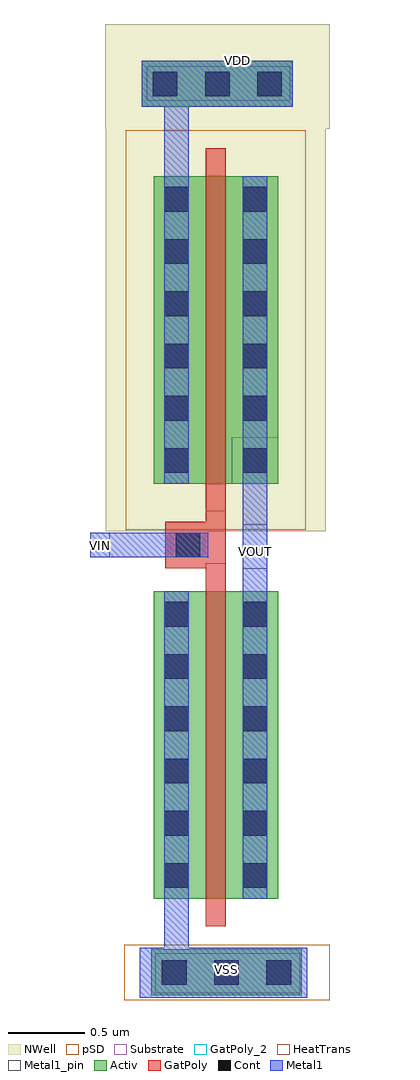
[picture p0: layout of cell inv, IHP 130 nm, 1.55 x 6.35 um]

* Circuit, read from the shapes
.subckt inv VDD VIN VOUT VSS
XM1 VOUT VIN VSS VSS sg13_lv_nmos w=2u l=0.13u
XM2 VOUT VIN VDD VDD sg13_lv_pmos w=2u l=0.13u
.ends

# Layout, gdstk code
import gdstk
lib = gdstk.Library(unit=1e-6, precision=5e-09)
def R(c, l, rs):  # rectangles x0, y0, x1, y1
    for r in rs: c.add(gdstk.rectangle(r[:2], r[2:], *l))
def A(c, l, x, y, w, h, nx, ny, dx, dy):  # array of equal rectangles
    R(c, l, [(x+i*dx, y+j*dy, x+i*dx+w, y+j*dy+h) for i in range(nx) for j in range(ny)])
def P(c, l, *ps):  # polygons
    for p in ps: c.add(gdstk.Polygon(p, *l))
Activ = (1, 0)
GatPoly = (5, 0)
GatPoly_2 = (5, 2)
Cont = (6, 0)
Metal1 = (8, 0)
Metal1_pin = (8, 2)
pSD = (14, 0)
NWell = (31, 0)
Substrate = (40, 0)
HeatTrans = (51, 0)

pmos = lib.new_cell('pmos')
R(pmos, Activ, [(0,0,0.3,0.3), (0,0,0.81,2), (0.51,0,0.81,0.3)])
R(pmos, GatPoly, [(0.34,-0.18,0.47,2.18), (0.34,-0.18,0.47,2.18)])
A(pmos, Cont, 0.07, 0.07, 0.16, 0.16, 1, 6, 0, 0.34)
A(pmos, Cont, 0.58, 0.07, 0.16, 0.16, 1, 6, 0, 0.34)
R(pmos, Metal1, [(0.07,0,0.23,2), (0.07,0,0.23,2), (0.58,0,0.74,2), (0.58,0,0.74,2)])
R(pmos, pSD, [(-0.18,-0.3,0.99,2.3)])
R(pmos, NWell, [(-0.31,-0.31,1.12,2.31)])
R(pmos, Substrate, [(0.51,0,0.81,0.3)])
R(pmos, HeatTrans, [(0.34,-0.18,0.47,2.18)])
pmos.add(gdstk.Label('pmos', (0.405,1), layer=63, texttype=0))
pmos.add(gdstk.Label('pmos', (0.405,1), layer=51, texttype=0))

nmos = lib.new_cell('nmos')
R(nmos, Activ, [(0,0,0.3,0.3), (0,0,0.81,2), (0.51,0,0.81,0.3)])
R(nmos, GatPoly, [(0.34,-0.18,0.47,2.18)])
R(nmos, GatPoly_2, [(0.34,-0.18,0.47,2.18)])
A(nmos, Cont, 0.07, 0.07, 0.16, 0.16, 1, 6, 0, 0.34)
A(nmos, Cont, 0.58, 0.07, 0.16, 0.16, 1, 6, 0, 0.34)
R(nmos, Metal1, [(0.07,0,0.23,2), (0.58,0,0.74,2)])
R(nmos, Metal1_pin, [(0.07,0,0.23,2), (0.58,0,0.74,2)])
R(nmos, HeatTrans, [(0.34,-0.18,0.47,2.18)])
nmos.add(gdstk.Label('nmos', (0.405,1), layer=63, texttype=0))
nmos.add(gdstk.Label('nmos', (0.405,1), layer=51, texttype=0))

via_stack_1 = lib.new_cell('via_stack$1')
R(via_stack_1, GatPoly, [(-0.15,-0.15,0.15,0.15)])
R(via_stack_1, Cont, [(-0.08,-0.08,0.08,0.08)])
R(via_stack_1, Metal1, [(-0.13,-0.08,0.13,0.08)])

via_stack = lib.new_cell('via_stack')
R(via_stack, Activ, [(-0.49,-0.15,0.49,0.15)])
A(via_stack, Cont, -0.42, -0.08, 0.16, 0.16, 3, 1, 0.34, 0)
R(via_stack, Metal1, [(-0.47,-0.08,0.47,0.08)])

inv = lib.new_cell('inv')
R(inv, GatPoly, [(1.315,2.875,1.445,4.3)])
R(inv, Metal1, [(0.885,0.435,1.975,0.76), (1.045,0.535,1.205,1.45), (1.555,2.45,1.715,4.43), (0.565,3.3,1.32,3.46), (1.045,5.21,1.205,6.3), (0.9,6.23,1.88,6.53)])
P(inv, Metal1, [(1.045,5.55),(1.045,5.55),(1.205,5.55),(1.205,5.55)])
R(inv, Metal1_pin, [(0.985,0.465,1.93,0.725), (1.555,3.225,1.715,3.515), (0.565,3.3,0.69,3.46), (0.93,6.27,1.865,6.495)])
R(inv, pSD, [(0.785,0.42,2.12,0.78)])
R(inv, NWell, [(0.66,6.09,2.12,6.77)])
inv.add(gdstk.Reference(pmos, (0.975,3.78)))
inv.add(gdstk.Reference(nmos, (0.975,1.08)))
inv.add(gdstk.Reference(via_stack_1, (1.2,3.38)))
inv.add(gdstk.Reference(via_stack, (1.39,6.38)))
inv.add(gdstk.Reference(via_stack, (1.45,0.6)))
inv.add(gdstk.Label('VDD', (1.52,6.53), layer=8, texttype=2))
inv.add(gdstk.Label('VSS', (1.45,0.62), layer=8, texttype=2))
inv.add(gdstk.Label('VIN', (0.63,3.38), layer=8, texttype=2))
inv.add(gdstk.Label('VOUT', (1.64,3.335), layer=8, texttype=2))

lib.write_gds('inv.gds')
